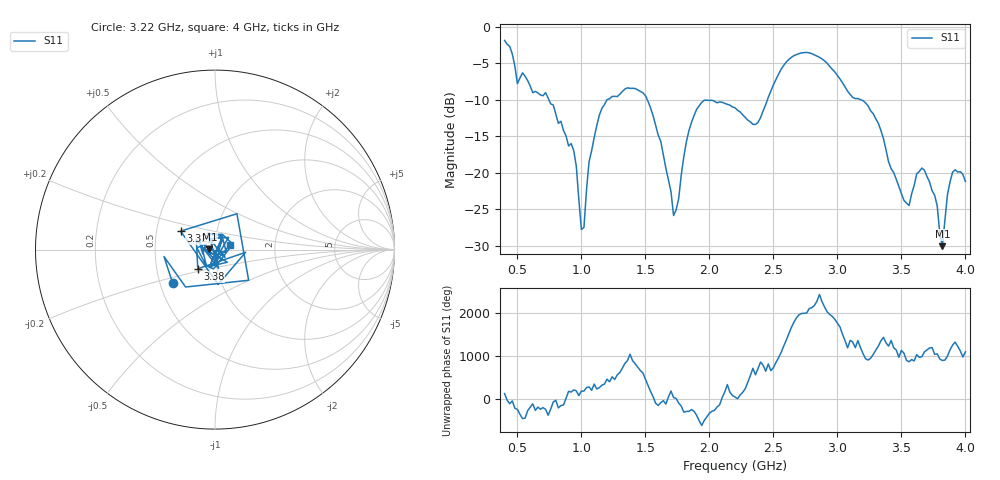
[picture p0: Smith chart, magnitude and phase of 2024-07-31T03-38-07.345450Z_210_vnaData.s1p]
!Created with skrf (http://scikit-rf.org).
# Hz S RI R 50.0
!freq ReS11 ImS11
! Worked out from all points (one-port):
!   181 points, 400 MHz to 4 GHz, reference 50 ohm
!   lowest |S11| = -30.0 dB at 3.82 GHz (marker M1), VSWR 1.07, Z = 46.9 + j0.142 ohm
!   |S11| at or under -10 dB: 745.8 MHz to 1.2 GHz (454.1 MHz wide, 46.7 % of centre); 1.515 GHz to 2.454 GHz (939.1 MHz wide, 47.3 % of centre); 3.181 GHz to end of sweep
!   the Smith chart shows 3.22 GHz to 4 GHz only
!   S11 on the Smith chart (normalised r, x): 3.22 GHz: 0.58, -0.24; 3.32 GHz: 0.67, +0.14; 3.38 GHz: 0.81, -0.18; 4 GHz: 1.18, +0.06
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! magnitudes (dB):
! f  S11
! 400 MHz  -1.9
! 500 MHz  -7.8
! 720 MHz  -9.0
! 860 MHz  -14.2
! 940 MHz  -17.0
! 1 GHz  -27.7
! 1.02 GHz  -27.4
! 1.06 GHz  -18.5
! 1.14 GHz  -12.1
! 1.3 GHz  -9.3
! 1.5 GHz  -9.4
! 1.62 GHz  -15.7
! 1.72 GHz  -25.8
! 1.76 GHz  -23.5
! 1.82 GHz  -15.8
! 1.9 GHz  -11.3
! 2.2 GHz  -11.1
! 2.38 GHz  -13.1
! 2.66 GHz  -4.0
! 3.1 GHz  -9.3
! 3.22 GHz  -10.4
! 3.32 GHz  -13.2
! 3.38 GHz  -16.9
! 3.56 GHz  -24.5
! 3.68 GHz  -19.6
! 3.82 GHz  -30.0
! 3.9 GHz  -19.9
! 4 GHz  -21.2
